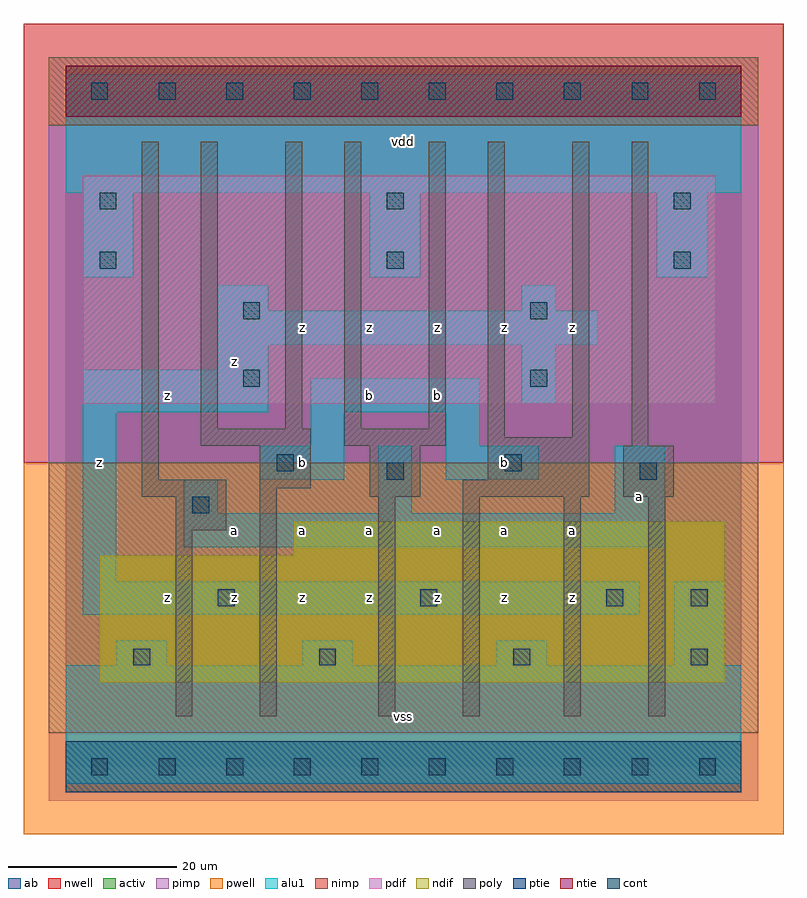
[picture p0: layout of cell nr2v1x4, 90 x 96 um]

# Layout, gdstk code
import gdstk
lib = gdstk.Library(unit=1e-6, precision=1e-09)
def R(c, l, rs):  # rectangles x0, y0, x1, y1
    for r in rs: c.add(gdstk.rectangle(r[:2], r[2:], *l))
def A(c, l, x, y, w, h, nx, ny, dx, dy):  # array of equal rectangles
    R(c, l, [(x+i*dx, y+j*dy, x+i*dx+w, y+j*dy+h) for i in range(nx) for j in range(ny)])
ndif = (3, 0)
pdif = (4, 0)
ntie = (5, 0)
ptie = (6, 0)
cont = (25, 0)
pwell = (41, 0)
nwell = (42, 0)
activ = (43, 0)
pimp = (44, 0)
nimp = (45, 0)
poly = (46, 0)
alu1 = (49, 0)
ab = (63, 0)

nr2v1x4 = lib.new_cell('nr2v1x4')
R(nr2v1x4, ndif, [(4,10,78,25), (27,25,78,29)])
R(nr2v1x4, pdif, [(2,43,77,70)])
R(nr2v1x4, ntie, [(0,77,80,83)])
R(nr2v1x4, ptie, [(0,-3,80,3)])
A(nr2v1x4, cont, 3, -1, 2, 2, 10, 2, 8, 80)
A(nr2v1x4, cont, 4, 59, 2, 2, 3, 2, 34, 7)
R(nr2v1x4, cont, [(8,12,10,14), (30,12,32,14), (53,12,55,14), (74,12,76,14), (18,19,20,21), (42,19,44,21), (64,19,66,21), (74,19,76,21), (15,30,17,32), (38,34,40,36), (68,34,70,36), (25,35,27,37), (52,35,54,37), (21,45,23,47), (55,45,57,47), (21,53,23,55), (55,53,57,55)])
R(nr2v1x4, pwell, [(-5,-8,85,36)])
R(nr2v1x4, nwell, [(-5,36,85,88)])
R(nr2v1x4, activ, [(0,-3,80,3), (4,10,78,25), (27,25,78,29), (2,43,77,70), (0,77,80,83)])
R(nr2v1x4, pimp, [(-2,-4,82,4), (-2,36,82,76)])
R(nr2v1x4, nimp, [(-2,4,82,36), (-2,76,82,84)])
R(nr2v1x4, poly, [(13,6,15,28), (23,6,25,33), (37,6,39,32), (47,6,49,32), (59,6,61,32), (69,6,71,32), (13,28,19,32), (9,32,19,34), (36,32,42,38), (47,32,62,34), (66,32,72,38), (23,33,29,38), (9,34,11,74), (50,34,62,39), (16,38,29,40), (33,38,45,40), (67,38,69,74), (50,39,52,74), (60,39,62,74), (16,40,18,74), (26,40,28,74), (33,40,35,74), (43,40,45,74)])
A(nr2v1x4, alu1, 2, 58, 6, 10, 3, 1, 34, 0)
R(nr2v1x4, alu1, [(0,-2,80,12), (6,12,12,15), (28,12,34,15), (51,12,57,15), (72,12,78,22), (2,18,68,22), (2,22,6,42), (14,26,71,30), (14,30,18,34), (37,30,41,38), (65,30,71,38), (23,34,33,38), (45,34,56,38), (29,38,33,42), (45,38,49,42), (2,42,24,47), (29,42,49,46), (54,43,58,50), (18,47,24,50), (18,50,63,54), (18,54,24,57), (54,54,58,57), (0,68,80,82)])
R(nr2v1x4, ab, [(0,0,80,80)])
nr2v1x4.add(gdstk.Label('z', (4,36), layer=49, texttype=0))
nr2v1x4.add(gdstk.Label('z', (12,20), layer=49, texttype=0))
nr2v1x4.add(gdstk.Label('z', (20,20), layer=49, texttype=0))
nr2v1x4.add(gdstk.Label('a', (20,28), layer=49, texttype=0))
nr2v1x4.add(gdstk.Label('z', (28,20), layer=49, texttype=0))
nr2v1x4.add(gdstk.Label('a', (28,28), layer=49, texttype=0))
nr2v1x4.add(gdstk.Label('z', (12,44), layer=49, texttype=0))
nr2v1x4.add(gdstk.Label('b', (28,36), layer=49, texttype=0))
nr2v1x4.add(gdstk.Label('z', (28,52), layer=49, texttype=0))
nr2v1x4.add(gdstk.Label('z', (20,48), layer=49, texttype=0))
nr2v1x4.add(gdstk.Label('vss', (40,6), layer=49, texttype=0))
nr2v1x4.add(gdstk.Label('z', (36,20), layer=49, texttype=0))
nr2v1x4.add(gdstk.Label('a', (36,28), layer=49, texttype=0))
nr2v1x4.add(gdstk.Label('z', (44,20), layer=49, texttype=0))
nr2v1x4.add(gdstk.Label('a', (44,28), layer=49, texttype=0))
nr2v1x4.add(gdstk.Label('b', (36,44), layer=49, texttype=0))
nr2v1x4.add(gdstk.Label('b', (44,44), layer=49, texttype=0))
nr2v1x4.add(gdstk.Label('z', (36,52), layer=49, texttype=0))
nr2v1x4.add(gdstk.Label('z', (44,52), layer=49, texttype=0))
nr2v1x4.add(gdstk.Label('vdd', (40,74), layer=49, texttype=0))
nr2v1x4.add(gdstk.Label('z', (52,20), layer=49, texttype=0))
nr2v1x4.add(gdstk.Label('a', (52,28), layer=49, texttype=0))
nr2v1x4.add(gdstk.Label('z', (60,20), layer=49, texttype=0))
nr2v1x4.add(gdstk.Label('a', (60,28), layer=49, texttype=0))
nr2v1x4.add(gdstk.Label('b', (52,36), layer=49, texttype=0))
nr2v1x4.add(gdstk.Label('z', (60,52), layer=49, texttype=0))
nr2v1x4.add(gdstk.Label('z', (52,52), layer=49, texttype=0))
nr2v1x4.add(gdstk.Label('a', (68,32), layer=49, texttype=0))

lib.write_gds('nr2v1x4.gds')
